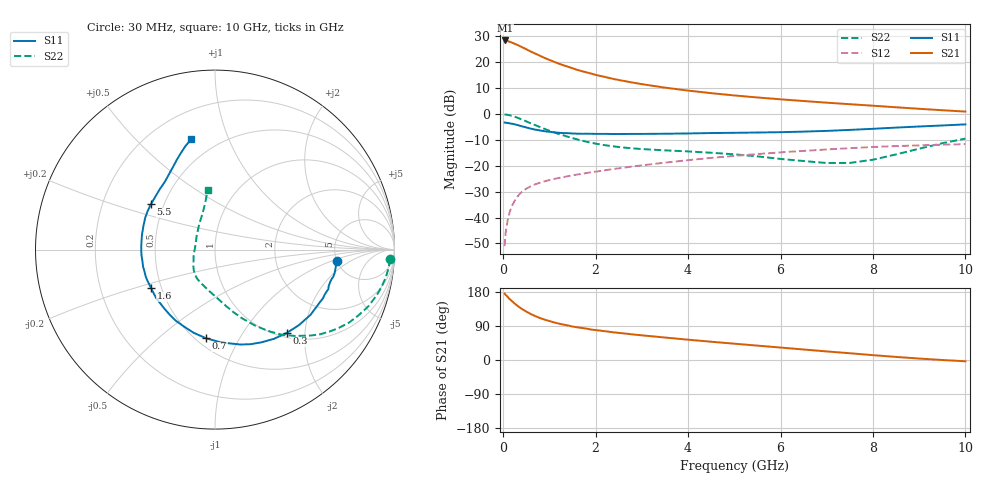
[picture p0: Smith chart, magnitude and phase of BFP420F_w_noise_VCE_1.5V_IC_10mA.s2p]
! Infineon Technologies  Discrete & RF Semiconductors
! BFP420F
! VCE =  1.5 V,  IC =  10 mA
! Common Emitter S-Parameters:  Sep 2011
# GHz  S  MA  R  50
!  f  S11  S21  S12  S22
! GHz  MAG  ANG  MAG  ANG  MAG  ANG  MAG  ANG
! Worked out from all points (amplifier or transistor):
!   54 points, 30 MHz to 10 GHz, reference 50 ohm
!   highest |S21| = 28.4 dB at 40 MHz (marker M1)
!   |S21| within 3 dB of that: start of sweep to 455.9 MHz
!   unconditionally stable (mu >= 1): 2.005 GHz to end of sweep
!   at 120 MHz: K = 0.14, MSG = 33.7 dB, |S12| = -39.3 dB
!   at 1.3 GHz: K = 0.76, MSG = 21.6 dB, |S12| = -24.4 dB
!   at 10 GHz: K = 1.28, MAG = 3.1 dB, |S12| = -11.7 dB
!   lowest NFmin = 1.18 dB at 450 MHz
!   S11 on the Smith chart (normalised r, x): 30 MHz: 4.98, -1.17; 300 MHz: 1.08, -1.61; 700 MHz: 0.56, -0.73; 1.6 GHz: 0.44, -0.23; 5.5 GHz: 0.42, +0.27; 10 GHz: 0.36, +0.74
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0.03  0.681 -5.3  26.2 175.3  0.0028 91.2  0.9749 -3.1
0.04  0.6781 -7.0  26.2 173.8  0.0037 87.5  0.9744 -4.2
0.1  0.665 -17.7  25.55 165.7  0.0093 82.6  0.9589 -10.5
0.15  0.655 -26.1  24.51 159.6  0.0135 79.2  0.9374 -15.5
0.25  0.6291 -42.0  22.53 148.7  0.0211 72.6  0.8802 -24.5
0.3  0.6125 -49.4  21.65 143.9  0.0249 70.0  0.8502 -28.6
0.35  0.5958 -56.5  20.6 139.3  0.028 67.3  0.8164 -32.3
0.45  0.5637 -69.2  18.67 131.2  0.0337 63.2  0.7515 -38.9
0.6  0.5187 -86.1  15.96 121.1  0.0403 58.4  0.6568 -47.1
0.7  0.4967 -95.7  14.52 115.5  0.0441 56.3  0.6045 -51.7
0.8  0.4785 -104.4  13.18 110.5  0.0472 54.7  0.555 -55.7
0.9  0.4622 -112.0  12 106.4  0.0502 53.5  0.5117 -59.2
1.1  0.4411 -125.2  10.17 99.2  0.0555 51.9  0.44 -65.5
1.3  0.4272 -135.8  8.71 93.5  0.0604 51.2  0.3855 -71.0
1.6  0.4161 -148.8  7.093 86.3  0.0675 50.7  0.3225 -78.7
1.7  0.4141 -152.3  6.702 84.6  0.0698 50.7  0.3051 -81.0
2.4  0.4092 -171.4  4.704 72.8  0.0867 50.1  0.2358 -97.0
3.5  0.4148 169.1  3.218 59.3  0.1148 48.1  0.198 -115.6
5.5  0.4376 144.7  2.079 37.9  0.1681 39.5  0.1516 -142.7
7  0.4703 126.4  1.649 22.6  0.2059 30.9  0.1128 178.7
8.5  0.5448 112.9  1.344 8.1  0.2394 20.9  0.1655 122.2
10  0.6285 102.2  1.11 -3.4  0.2614 12.2  0.3343 97.1
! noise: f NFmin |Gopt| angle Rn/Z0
0.45  1.18  0.02  48  0.13
0.9  1.19  0.06  87  0.14
1.9  1.33  0.14  155  0.27
2.4  1.39  0.15  158  0.17
3.5  1.66  0.2  179  0.18
